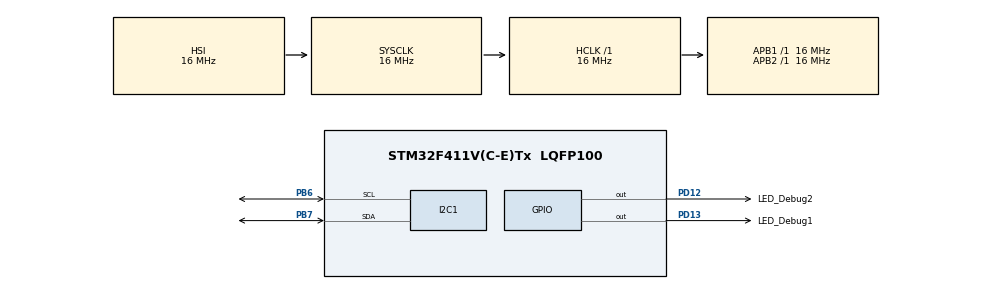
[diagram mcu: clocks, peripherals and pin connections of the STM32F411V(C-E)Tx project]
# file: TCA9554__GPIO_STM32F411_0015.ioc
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Mcu.Family=STM32F4
Mcu.Name=STM32F411V(C-E)Tx
Mcu.Package=LQFP100
NVIC.PriorityGroup=NVIC_PRIORITYGROUP_4
PA13.Mode=Serial_Wire
PA13.Signal=SYS_JTMS-SWDIO
PA14.Mode=Serial_Wire
PA14.Signal=SYS_JTCK-SWCLK
PB6.Mode=I2C
PB6.Signal=I2C1_SCL
PB7.Mode=I2C
PB7.Signal=I2C1_SDA
PD12.GPIO_Label=LED_Debug2
PD12.Signal=GPIO_Output
PD13.GPIO_Label=LED_Debug1
PD13.Signal=GPIO_Output
ProjectManager.HeapSize=0x200
ProjectManager.StackSize=0x400
ProjectManager.TargetToolchain=STM32CubeIDE
RCC.AHBFreq_Value=16000000
RCC.APB1Freq_Value=16000000
RCC.APB2Freq_Value=16000000
RCC.CortexFreq_Value=16000000
RCC.HSE_VALUE=25000000
RCC.HSI_VALUE=16000000
RCC.LSE_VALUE=32768
RCC.SYSCLKFreq_VALUE=16000000
RCC.VCOOutputFreq_Value=192000000
board=custom

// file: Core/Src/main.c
/* USER CODE BEGIN Header */
/**
  ******************************************************************************
  * @file           : main.c
  * @brief          : Main program body
  ******************************************************************************
  * @attention
  *
  * Copyright (c) 2026 STMicroelectronics.
  * All rights reserved.
  *
  * This software is licensed under terms that can be found in the LICENSE file
  * in the root directory of this software component.
  * If no LICENSE file comes with this software, it is provided AS-IS.
  *
  ******************************************************************************
  */
/* USER CODE END Header */
#include "main.h"
#include "i2c.h"
#include "gpio.h"

/* USER CODE BEGIN Includes */
#include "TCA9554.h"
/* USER CODE END Includes */

void SystemClock_Config(void);

int main(void)
{

  /* MCU Configuration--------------------------------------------------------*/

  /* Reset of all peripherals, Initializes the Flash interface and the Systick. */
  HAL_Init();

  /* Configure the system clock */
  SystemClock_Config();

  /* Initialize all configured peripherals */
  MX_GPIO_Init();
  MX_I2C1_Init();
  /* USER CODE BEGIN 2 */

  TCA9554_HandleTypeDef GPIO_expander1 =
  {
		  .hi2c = &hi2c1,				//Set based on CubeMX I2C configuration
		  .address = TCA9554_ADDRESS,	//In header file
		  .io_configuration = 0x0,		//0 - Output, 1 - Input (ex. 0b01010101 is: P0- Output, P1 - Input, P2 - Output....), by default all set to input
		  //.io_states = 0b01010101,	//States of pins, 1 - High, 0 - Low, by default all low
		  .io_states = 0,
		  .pol_inversion = 0x0
  };

  TCA9554_init(&GPIO_expander1);

  uint8_t read_status = 0;
  bool pin_status[8] = {0};

  /* USER CODE END 2 */

  /* Infinite loop */
  /* USER CODE BEGIN WHILE */
  while (1)
  {
	  //Demo
	  //Write to specific pin
	  for(int i = 0; i < 8; i++){
		  TCA9554_set_pin(&GPIO_expander1, i, true);
		  HAL_Delay(100);
	  }
	  for(int i = 8; i >= 0; i--){
		  TCA9554_set_pin(&GPIO_expander1, i, false);
		  HAL_Delay(100);
	  }

	  //Write state of all pins at once
	  for(uint8_t counter = 0; counter < UINT8_MAX; counter++){
		  TCA9554_write(&GPIO_expander1, TCA9554_OUT_REG, counter);

		  read_status = TCA9554_read(&GPIO_expander1, TCA9554_IN_REG);	//Read status of every pin
		  for(uint8_t i = 0; i < 8; i++){
			  pin_status[i] = TCA9554_read_pin(&GPIO_expander1, i); //Read status of single pin
		  }

		  HAL_Delay(100);
	  }

	  //Demo for reading pins, set pins by connecting 3.3 V to pinheader and observe pin_status array in debug
	  TCA9554_write(&GPIO_expander1, TCA9554_OUT_REG, 0);
	  TCA9554_write(&GPIO_expander1, TCA9554_CONF_REG, 1);

	  /*

	  while(1){
		  for(uint8_t i = 0; i < 8; i++){
			  pin_status[i] = TCA9554_read_pin(&GPIO_expander1, i); //Read status of single pin
		  }
	  }

	*/

	  HAL_GPIO_TogglePin(LED_Debug1_GPIO_Port, LED_Debug1_Pin);
	  HAL_Delay(500);
    /* USER CODE END WHILE */

  }
}

void SystemClock_Config(void)
{
  RCC_OscInitTypeDef RCC_OscInitStruct = {0};
  RCC_ClkInitTypeDef RCC_ClkInitStruct = {0};

  /** Configure the main internal regulator output voltage
  */
  __HAL_RCC_PWR_CLK_ENABLE();
  __HAL_PWR_VOLTAGESCALING_CONFIG(PWR_REGULATOR_VOLTAGE_SCALE1);

  /** Initializes the RCC Oscillators according to the specified parameters
  * in the RCC_OscInitTypeDef structure.
  */
  RCC_OscInitStruct.OscillatorType = RCC_OSCILLATORTYPE_HSI;
  RCC_OscInitStruct.HSIState = RCC_HSI_ON;
  RCC_OscInitStruct.HSICalibrationValue = RCC_HSICALIBRATION_DEFAULT;
  RCC_OscInitStruct.PLL.PLLState = RCC_PLL_NONE;
  if (HAL_RCC_OscConfig(&RCC_OscInitStruct) != HAL_OK)
  {
    Error_Handler();
  }

  /** Initializes the CPU, AHB and APB buses clocks
  */
  RCC_ClkInitStruct.ClockType = RCC_CLOCKTYPE_HCLK|RCC_CLOCKTYPE_SYSCLK
                              |RCC_CLOCKTYPE_PCLK1|RCC_CLOCKTYPE_PCLK2;
  RCC_ClkInitStruct.SYSCLKSource = RCC_SYSCLKSOURCE_HSI;
  RCC_ClkInitStruct.AHBCLKDivider = RCC_SYSCLK_DIV1;
  RCC_ClkInitStruct.APB1CLKDivider = RCC_HCLK_DIV1;
  RCC_ClkInitStruct.APB2CLKDivider = RCC_HCLK_DIV1;

  if (HAL_RCC_ClockConfig(&RCC_ClkInitStruct, FLASH_LATENCY_0) != HAL_OK)
  {
    Error_Handler();
  }
}

void Error_Handler(void)
{
  __disable_irq();
  while (1)
  {
  }
}
